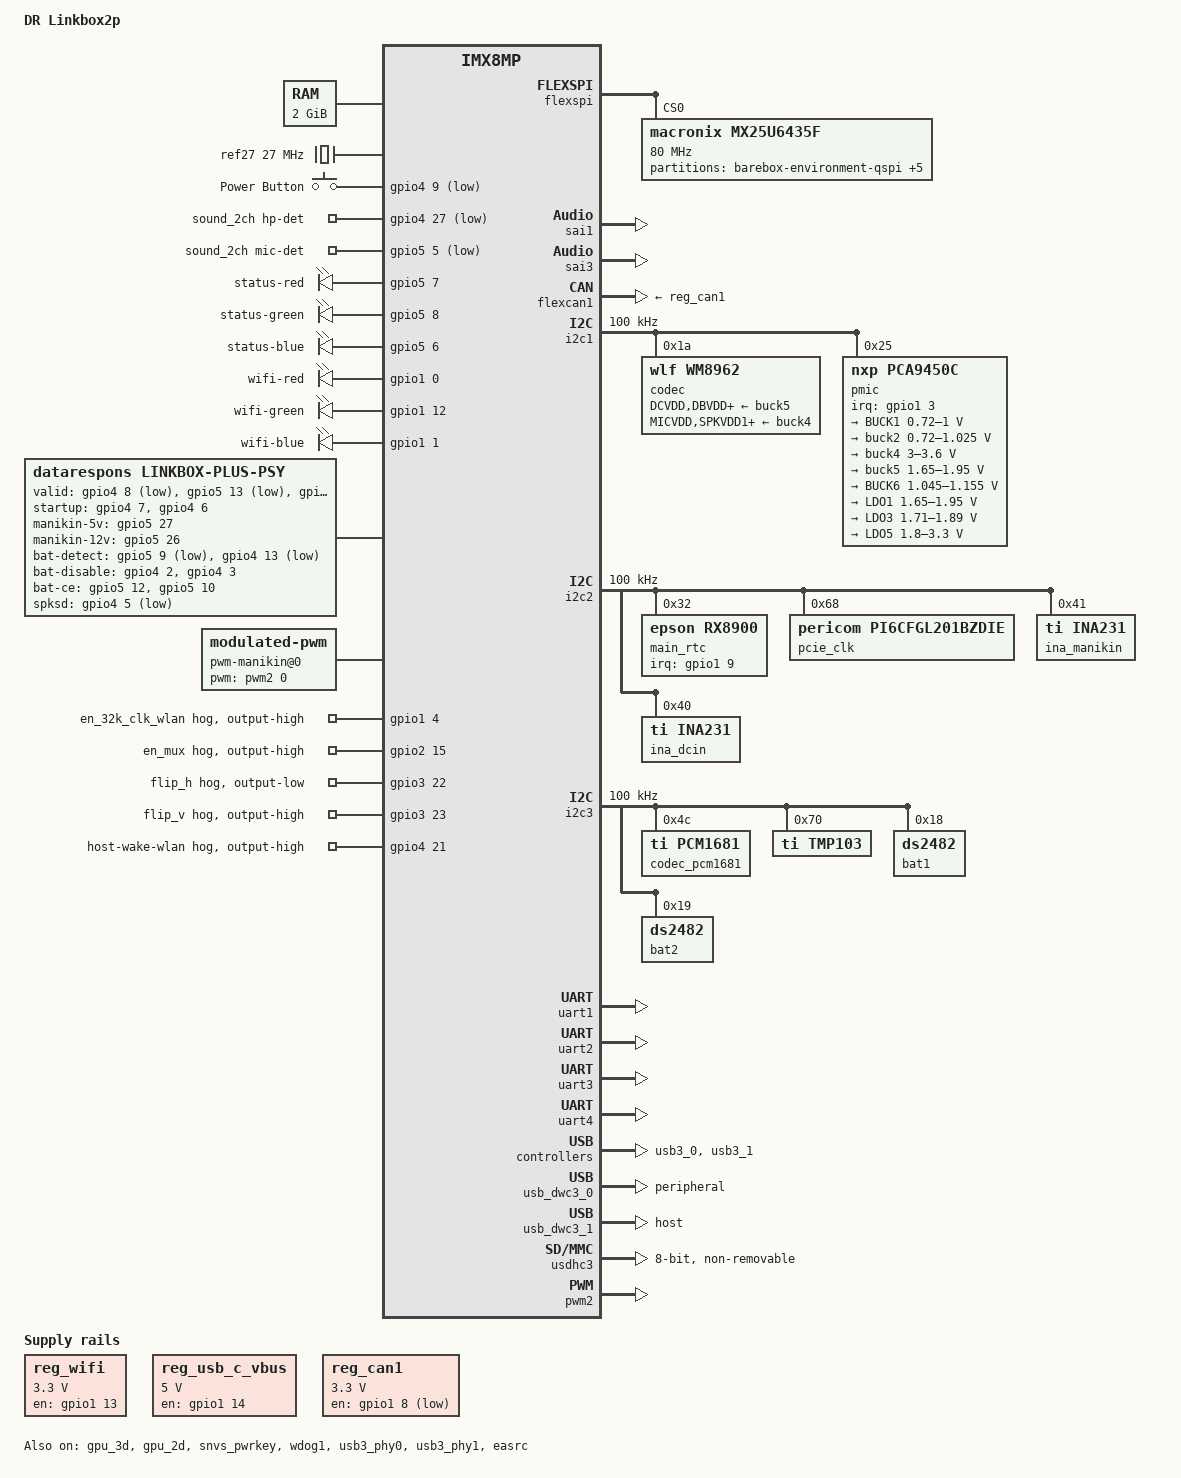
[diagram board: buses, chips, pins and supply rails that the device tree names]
/*
 * Copyright DATA RESPONS AS
 *
 * The code contained herein is licensed under the GNU General Public
 * License. You may obtain a copy of the GNU General Public License
 * Version 2 or later at the following locations:
 *
 * http://www.opensource.org/licenses/gpl-license.html
 * http://www.gnu.org/copyleft/gpl.html
 */
/dts-v1/;

#include <dt-bindings/input/input.h>
#include <dt-bindings/gpio/gpio.h>
#include <dt-bindings/usb/pd.h>
#include "imx8mp.dtsi"

/ {
	model = "DR Linkbox2p";
	compatible = "datarespons,linkbox2p", "fsl,imx8mp";

	aliases {
		mmc0 = &usdhc3;
		ethernet0 = &eqos;
		btserial = "ttymxc2";
		rtc0 = &main_rtc;
		rtc1 = &snvs_rtc;
	};

	chosen {
		stdout-path = &uart2;
	};

	memory@40000000 {
		device_type = "memory";
		reg = <0x0 0x40000000 0 0x80000000>; 	/* 2 GB DDR */
	};

	/delete-node/ display-subsystem;


	clocks {
		wlan_clk: clock@1 {
		#clock-cells = <0>;
            compatible = "fixed-clock";
            clock-output-names = "slp-clk";
            clock-frequency = <32768>;
            gpio = <&gpio1 4 0>; // EN_32KO-RTC
        };

		/*bt_clk: clock@1 {
		#clock-cells = <0>;
            compatible = "fixed-clock";
            clock-output-names = "lpo";
            clock-frequency = <32768>;
        };*/

		/* 27MHz reference crystal */
		ref27: oscillator {
			compatible = "fixed-clock";
			#clock-cells = <0>;
			clock-frequency = <27000000>;
		};
	};

	regulators {
		compatible = "simple-bus";

		reg_wifi: wifi_pwr {
			compatible = "regulator-fixed";
			regulator-name = "reg_wifi";
			regulator-min-microvolt = <3300000>;
			regulator-max-microvolt = <3300000>;
			gpio = <&gpio1 13 0>; /* PMIC_EN-WLAN */
			enable-active-high;
			regulator-always-on;
		};

		reg_usb_c_vbus: usb_c_vbus {
			compatible = "regulator-fixed";
			regulator-name = "reg_usb_c_vbus";
			regulator-min-microvolt = <5000000>;
			regulator-max-microvolt = <5000000>;
			gpio = <&gpio1 14 GPIO_ACTIVE_HIGH>; /* EN-USBC_Vbus_5V */
			enable-active-high;
/*			vin-supply = <&reg_5v>;*/
		};

		reg_can1: regulator-can1 {
			compatible = "regulator-fixed";
			regulator-name = "can1-power";
			pinctrl-names = "default";
			pinctrl-0 = <&pinctrl_flexcan1_reg>;
			regulator-min-microvolt = <3300000>;
			regulator-max-microvolt = <3300000>;
			gpio = <&gpio1 8 GPIO_ACTIVE_LOW>;
			enable-active-low;
		};
	};

	gpio-keys {
		compatible = "gpio-keys";
		power {
			label = "Power Button";
			gpios = <&gpio4 9 GPIO_ACTIVE_LOW>;
			linux,code = <KEY_POWER>; /* KEY_POWER */
			gpio-key,wakeup;
		};
	};

	bt_sco_codec: bt_sco_codec {
		#sound-dai-cells = <1>;
		compatible = "linux,bt-sco";
		status = "disabled";
	};

/*
	sound-bt-sco {
		compatible = "simple-audio-card";
		simple-audio-card,name = "bt-sco-audio";
		simple-audio-card,format = "dsp_a";
		simple-audio-card,bitclock-inversion;
		simple-audio-card,frame-master = <&btcpu>;
		simple-audio-card,bitclock-master = <&btcpu>;

		btcpu: simple-audio-card,cpu {
			sound-dai = <&sai2>;
			dai-tdm-slot-num = <2>;
			dai-tdm-slot-width = <16>;
		};

		simple-audio-card,codec {
			sound-dai = <&bt_sco_codec 1>;
		};
	};
*/
	sound_2ch {
		compatible = "fsl,lm-imx-audio-wm8962";
		model = "wm8962-audio";
		audio-cpu = <&sai3>;
		audio-codec = <&codec>;
		hp-det-gpios = <&gpio4 27 GPIO_ACTIVE_LOW>;
		mic-det-gpios = <&gpio5 5 GPIO_ACTIVE_LOW>;
		audio-routing =
			"Headphone Jack", "HPOUTL",
			"Headphone Jack", "HPOUTR",
			"Ext Spk", "SPKOUTL",
			"Ext Spk", "SPKOUTR",
			"AMIC", "MICBIAS",
			"IN1L", "AMIC",
			"IN1R", "AMIC",
			"IN2L", "AMIC",
			"IN2R", "AMIC";
	};

	leds {
		compatible = "gpio-leds";
		pinctrl-names = "default";
		pinctrl-0 = <&pinctrl_gpio_led>;

		status-red {
			gpios = <&gpio5 7 GPIO_ACTIVE_HIGH>;
			default-state = "off";
		};

		status-green {
			gpios = <&gpio5 8 GPIO_ACTIVE_HIGH>;
			default-state = "on";
			linux,default-trigger = "timer";
		};

		status-blue {
			gpios = <&gpio5 6 GPIO_ACTIVE_HIGH>;
			default-state = "off";
		};

		wifi-red {
			gpios = <&gpio1 0 GPIO_ACTIVE_HIGH>;
			default-state = "off";
		};

		wifi-green {
			gpios = <&gpio1 12 GPIO_ACTIVE_HIGH>;
			default-state = "off";
		};

		wifi-blue {
			gpios = <&gpio1 1 GPIO_ACTIVE_HIGH>;
			default-state = "off";
		};
	};

    sound_8ch {
        compatible = "fsl,imx-audio-mx8-pcm1681";
        model = "pcm1681";
        audio-cpu = <&sai1>;
        audio-codec = <&codec_pcm1681>;

        audio-routing =
            "OUT1", "VOUT1",
            "OUT2", "VOUT2",
            "OUT3", "VOUT3",
            "OUT4", "VOUT4",
            "OUT5", "VOUT5",
            "OUT6", "VOUT6",
            "OUT7", "VOUT7",
            "OUT8", "VOUT8";
    };

    linkbox-plus-psy {
		pinctrl-names = "default";
		pinctrl-0 = <&pinctrl_linkbox_psy>;
		status = "okay";
		compatible = "datarespons,linkbox-plus-psy";
		valid-gpios = <&gpio4 8 GPIO_ACTIVE_LOW &gpio5 13 GPIO_ACTIVE_LOW &gpio5 11 GPIO_ACTIVE_LOW>;
		startup-gpios = <&gpio4 7 GPIO_ACTIVE_HIGH &gpio4 6 GPIO_ACTIVE_HIGH>;
		manikin-5v-gpio = <&gpio5 27 GPIO_ACTIVE_HIGH>;
		manikin-12v-gpio = <&gpio5 26 GPIO_ACTIVE_HIGH>;
		bat-detect-gpios = <&gpio5 9 GPIO_ACTIVE_LOW &gpio4 13 GPIO_ACTIVE_LOW>;
		bat-disable-gpios = <&gpio4 2 GPIO_ACTIVE_HIGH &gpio4 3 GPIO_ACTIVE_HIGH>;
		bat-ce-gpios = <&gpio5 12 GPIO_ACTIVE_HIGH &gpio5 10 GPIO_ACTIVE_HIGH>;
		spksd-gpio = <&gpio4 5 GPIO_ACTIVE_LOW>;
		amp-shutdown-gpio = <&gpio1 6 GPIO_ACTIVE_LOW>;
		clr-status-gpio = <&gpio4 4 GPIO_ACTIVE_HIGH>;
		ina-dcin = <&ina_dcin>;
		ina-manikin = <&ina_manikin>;
    };

	pwm-manikin@0 {
		compatible = "modulated-pwm";
		pwms = <&pwm2 0 40000>;
		status = "okay";
		inverted;
		period = <40000>;
	};
};

&A53_0 {
	cpu-supply = <&buck2>;
};

&A53_1 {
	cpu-supply = <&buck2>;
};

&A53_2 {
	cpu-supply = <&buck2>;
};

&A53_3 {
	cpu-supply = <&buck2>;
};

&gpu_3d {
	status = "okay";
};

&gpu_2d {
	status = "okay";
};


&snvs_pwrkey {
	status = "okay";
};

&gpio1 {
	gpio-line-names = "", "", "", "", "", "", "", "ts-rst",
						"", "", "", "", "", "pmic-enable-wlan", "", "";

	en_32k_clk_wlan {
		gpio-hog;
		gpios = <4 GPIO_ACTIVE_HIGH>;
		output-high;
	};
};

&gpio2 {
	en_mux {
		gpio-hog;
		gpios = <15 GPIO_ACTIVE_HIGH>;
		output-high;
	};
};

&gpio3 {
	gpio-line-names = "", "", "", "", "", "", "", "",
						"spinor-wp", "", "", "", "", "", "", "";
	flip_h {
		gpio-hog;
		gpios = <22 GPIO_ACTIVE_HIGH>;
		output-low;
	};

	flip_v {
		gpio-hog;
		gpios = <23 GPIO_ACTIVE_HIGH>;
		output-high;
	};
};

&gpio4 {
	gpio-line-names = "", "", "", "", "", "", "", "",
						"", "", "", "", "", "", "mcu_reset", "mcu_boot0",
						"mcu_boot1", "hwrev0", "hwrev1", "hwrev2", "sai1-mclk", "host-wake-wlan", "wlan-wake-host", "",
						"", "", "", "", "", "", "", "";

	host-wake-wlan {
		gpio-hog;
		gpios = <21 GPIO_ACTIVE_HIGH>;
		output-high;
	};
};

&gpio5 {
	gpio-line-names = "", "", "", "bt-wake-host", "host-wake-bt", "", "", "",
						"", "", "", "", "", "", "", "",
						"", "", "", "", "pcie-clkreqn", "", "", "";
};


&eqos {
	pinctrl-names = "default";
	pinctrl-0 = <&pinctrl_eqos>;
	phy-mode = "rgmii-id";
	phy-handle = <&ethphy0>;
	reset-gpios = <&gpio4 1 GPIO_ACTIVE_LOW>; /* ETHPHY_nRST */
	snps,force_thresh_dma_mode;
	snps,mtl-tx-config = <&mtl_tx_setup>;
	snps,mtl-rx-config = <&mtl_rx_setup>;
	status = "disabled";

	mdio {
		compatible = "snps,dwmac-mdio";
		#address-cells = <1>;
		#size-cells = <0>;

		ethphy0: ethernet-phy@0 {
			compatible = "ethernet-phy-ieee802.3-c22";
			reg = <0>;
			eee-broken-1000t;
			rtl821x,aldps-disable;
			rtl821x,clkout-disable;
		};
	};

	mtl_tx_setup: tx-queues-config {
		snps,tx-queues-to-use = <5>;
		snps,tx-sched-sp;

		queue0 {
			snps,dcb-algorithm;
			snps,priority = <0x1>;
		};

		queue1 {
			snps,dcb-algorithm;
			snps,priority = <0x2>;
		};

		queue2 {
			snps,dcb-algorithm;
			snps,priority = <0x4>;
		};

		queue3 {
			snps,dcb-algorithm;
			snps,priority = <0x8>;
		};

		queue4 {
			snps,dcb-algorithm;
			snps,priority = <0xf0>;
		};
	};

	mtl_rx_setup: rx-queues-config {
		snps,rx-queues-to-use = <5>;
		snps,rx-sched-sp;

		queue0 {
			snps,dcb-algorithm;
			snps,priority = <0x1>;
			snps,map-to-dma-channel = <0>;
		};

		queue1 {
			snps,dcb-algorithm;
			snps,priority = <0x2>;
			snps,map-to-dma-channel = <1>;
		};

		queue2 {
			snps,dcb-algorithm;
			snps,priority = <0x4>;
			snps,map-to-dma-channel = <2>;
		};

		queue3 {
			snps,dcb-algorithm;
			snps,priority = <0x8>;
			snps,map-to-dma-channel = <3>;
		};

		queue4 {
			snps,dcb-algorithm;
			snps,priority = <0xf0>;
			snps,map-to-dma-channel = <4>;
		};
	};
};


&flexspi {
	pinctrl-names = "default";
	pinctrl-0 = <&pinctrl_flexspi0>;
	status = "okay";

	mx25u6435f: flash@0 { /* MX25U6432FM2I02 (64 Mbit) */
		reg = <0>;
		#address-cells = <1>;
		#size-cells = <1>;
		compatible = "macronix,mx25u6435f", "jedec,spi-nor";
		spi-max-frequency = <80000000>;
		spi-tx-bus-width = <1>;
		spi-rx-bus-width = <4>;
		spi-nor,ddr-quad-read-dummy = <6>;

	};
};

&mx25u6435f {
	partitions {
		compatible = "fixed-partitions";
		#address-cells = <1>;
		#size-cells = <1>;

		partition@0 {
			label = "barebox-environment-qspi";
			reg = <0x0 0x40000>;
		};

		backend_state_qspi: state@40000 {
			label = "barebox-state";
			reg = <0x40000 0xc0000>;
		};

		partition@100000 {
			label = "system_a";
			reg = <0x100000 0x40000>;
		};
		partition@140000 {
			label = "system_b";
			reg = <0x140000 0x40000>;
		};

		partition@180000 {
			label = "user_a";
			reg = <0x180000 0x40000>;
		};
		partition@1c0000 {
			label = "user_b";
			reg = <0x1c0000 0x40000>;
		};
	};
};

&sai1 {
	#clock-cells = <0>;
	clock-output-names = "sai1_mclk_out";
	pinctrl-names = "default";
	pinctrl-0 = <&pinctrl_sai1>;
	assigned-clocks = <&clk IMX8MP_CLK_SAI1>;
	assigned-clock-parents = <&clk IMX8MP_AUDIO_PLL1_OUT>;
	assigned-clock-rates = <24576000>;
	clocks = <&audio_blk_ctrl IMX8MP_CLK_AUDIO_BLK_CTRL_SAI1_IPG>, <&clk IMX8MP_CLK_DUMMY>,
		<&audio_blk_ctrl IMX8MP_CLK_AUDIO_BLK_CTRL_SAI1_MCLK1>, <&clk IMX8MP_CLK_DUMMY>,
		<&clk IMX8MP_CLK_DUMMY>;
	clock-names = "bus", "mclk0", "mclk1", "mclk2", "mclk3";
	fsl,sai-mclk-direction-output;
	status = "okay";
};

&sai2 {
	#sound-dai-cells = <0>;
	pinctrl-names = "default";
	pinctrl-0 = <&pinctrl_sai2>;
	assigned-clocks = <&clk IMX8MP_CLK_SAI2>;
	assigned-clock-parents = <&clk IMX8MP_AUDIO_PLL1_OUT>;
	assigned-clock-rates = <12288000>;
	status = "disabled";
};

&sai3 {
	#clock-cells = <0>;
	clock-output-names = "sai3_mclk_out";
	pinctrl-names = "default";
	pinctrl-0 = <&pinctrl_sai3>;
	assigned-clocks = <&clk IMX8MP_CLK_SAI3>;
	assigned-clock-parents = <&clk IMX8MP_AUDIO_PLL1_OUT>;
	assigned-clock-rates = <24576000>;
	clocks = <&audio_blk_ctrl IMX8MP_CLK_AUDIO_BLK_CTRL_SAI3_IPG>, <&clk IMX8MP_CLK_DUMMY>,
		<&audio_blk_ctrl IMX8MP_CLK_AUDIO_BLK_CTRL_SAI3_MCLK1>, <&clk IMX8MP_CLK_DUMMY>,
		<&clk IMX8MP_CLK_DUMMY>;
	clock-names = "bus", "mclk0", "mclk1", "mclk2", "mclk3";
	fsl,sai-mclk-direction-output;
	status = "okay";
};

&sdma2 {
	status = "okay";
};

&flexcan1 {
	pinctrl-names = "default";
	pinctrl-0 = <&pinctrl_flexcan1>;
	xceiver-supply = <&reg_can1>;
	status = "okay";
	termination-gpios = <&gpio1 7 GPIO_ACTIVE_HIGH>;
    termination-ohms = <60>;
};

&i2c1 { /* PMIC PCA9450CHNY, Audio codec WM8962B */
	clock-frequency = <100000>;
	pinctrl-names = "default";
	pinctrl-0 = <&pinctrl_i2c1>;
	status = "okay";

	codec: wm8962@1a {
		compatible = "wlf,wm8962";
		reg = <0x1a>;
		DCVDD-supply = <&buck5>;
		DBVDD-supply = <&buck5>;
		AVDD-supply = <&buck5>;
		CPVDD-supply = <&buck5>;
		MICVDD-supply = <&buck4>;
		PLLVDD-supply = <&buck5>;
		SPKVDD1-supply = <&buck4>;
		SPKVDD2-supply = <&buck4>;
		clocks = <&sai3>;
		clock-names = "mclk";
/*		interrupts = <28 IRQ_TYPE_LEVEL_LOW>;
		interrupt-parent = <&gpio4>; */
		gpio-cfg = <
			0x0000 /* 0:Default */
			0x0000 /* 1:Default */
			0x0000 /* 2:FN_DMICCLK */
			0x0000 /* 3:Default */
			0x0000 /* 4:FN_DMICCDAT */
			0x4703 /* 5:IRQ, low PU */
		>;
	};

	pmic: pca9450@25 {
		compatible = "nxp,pca9450c";
		reg = <0x25>;
		pinctrl-names = "default";
		pinctrl-0 = <&pinctrl_pmic>;
		interrupt-parent = <&gpio1>;
		interrupts = <3 IRQ_TYPE_LEVEL_LOW>;

		regulators {
			BUCK1 {
				regulator-name = "BUCK1";
				regulator-min-microvolt = <720000>;
				regulator-max-microvolt = <1000000>;
				regulator-boot-on;
				regulator-always-on;
				regulator-ramp-delay = <3125>;
			};

			buck2: BUCK2 {
				regulator-name = "BUCK2";
				regulator-min-microvolt = <720000>;
				regulator-max-microvolt = <1025000>;
				regulator-boot-on;
				regulator-always-on;
				regulator-ramp-delay = <3125>;
				nxp,dvs-run-voltage = <950000>;
				nxp,dvs-standby-voltage = <850000>;
			};

			buck4: BUCK4 {
				regulator-name = "BUCK4";
				regulator-min-microvolt = <3000000>;
				regulator-max-microvolt = <3600000>;
				regulator-boot-on;
				regulator-always-on;
			};

			buck5: BUCK5 {
				regulator-name = "BUCK5";
				regulator-min-microvolt = <1650000>;
				regulator-max-microvolt = <1950000>;
				regulator-boot-on;
				regulator-always-on;
			};

			BUCK6 {
				regulator-name = "BUCK6";
				regulator-min-microvolt = <1045000>;
				regulator-max-microvolt = <1155000>;
				regulator-boot-on;
				regulator-always-on;
			};

			LDO1 {
				regulator-name = "LDO1";
				regulator-min-microvolt = <1650000>;
				regulator-max-microvolt = <1950000>;
				regulator-boot-on;
				regulator-always-on;
			};

			LDO3 {
				regulator-name = "LDO3";
				regulator-min-microvolt = <1710000>;
				regulator-max-microvolt = <1890000>;
				regulator-boot-on;
				regulator-always-on;
			};

			LDO5 {
				regulator-name = "LDO5";
				regulator-min-microvolt = <1800000>;
				regulator-max-microvolt = <3300000>;
				regulator-boot-on;
				regulator-always-on;
			};
		};
	};
};

&i2c2 { /* RTC X1B000271A00400/rx8900, PCIE_CLK PI6CFGL201BZDIE, MBATT BQ27541-G1 BQ28Z610 */
	clock-frequency = <100000>;
	pinctrl-names = "default";
	pinctrl-0 = <&pinctrl_i2c2>;
	status = "okay";

	main_rtc: rtc-rx8900@32 {
		compatible = "epson,rx8900";
		reg = <0x32>;
		interrupt-parent = <&gpio1>;
		interrupts = <9 IRQ_TYPE_LEVEL_LOW>;
	};

	pcie_clk: pi6cfgl201bzdie@68 {
		compatible = "pericom,pi6cfgl201bzdie";
		reg = <0x68>;
	};

	ina_manikin: ina231@41 {
		compatible = "ti,ina231";
		reg = <0x41>;
		shunt-resistor = <10000>;
	};

	ina_dcin: ina231@40 {
		compatible = "ti,ina231";
		reg = <0x40>;
		shunt-resistor = <10000>;
	};
};

&i2c3 { /* CTP EXC80H32 , CTP EXC80H32	see exc3000.c */
	clock-frequency = <100000>;
	pinctrl-names = "default";
	pinctrl-0 = <&pinctrl_i2c3>;
	status = "okay";

	codec_pcm1681: pcm1681@4c {
		compatible = "ti,pcm1681";
		reg = <0x4c>;
		clocks = <&sai1>;
		clock-names = "mclk";
	};

	si5351: clock-generator@60 {
		compatible = "silabs,si5351a";
		reg = <0x60>;
		#address-cells = <1>;
		#size-cells = <0>;
		#clock-cells = <1>;
		status = "disabled";

		/* connect xtal input to 27MHz reference */
		clocks = <&ref27>;
		clock-names = "xtal";
		/* connect xtal input as source of pll0 and pll1 */
		silabs,pll-source = <0 0>, <1 0>;

		clkout0 {
			reg = <0>;
			silabs,drive-strength = <8>;
			silabs,multisynth-source = <0>;
			silabs,clock-source = <0>;
			silabs,pll-master;
			clock-frequency = <24576000>;
		};
	};

	/*thermal_sensor: TMP103AYFFR*/
	tmp103: tmp103@70 {
		compatible = "ti,tmp103";
		reg = <0x70>;
	};

	/* DS2482X-101+T */
	/* defconfig W1_MASTER_DS2482*/
	bat1: ds2482@18 {
		compatible = "ds2482";
		reg = <0x18>;
	};

	/* DS2482X-101+T */
	/* defconfig W1_MASTER_DS2482*/
	bat2: ds2482@19 {
		compatible = "ds2482";
		reg = <0x19>;
	};

};

&wdog1 {
	pinctrl-names = "default";
	pinctrl-0 = <&pinctrl_wdog>;
	fsl,ext-reset-output;
	status = "okay";
};

/* PAD defs for IMX8MP
BIT8: PULL Enable=1
BIT7: HYS Shmitt=1
BIT6: PUE Down=0, Up=1
BIT5: ODE
BIT4: SLEW Fast=1
BIT2:1 STRENGTH x1,x2,x4,x6
*/

&iomuxc {
	pinctrl-names = "default";
	pinctrl-0 = <&pinctrl_hog>;

	pinctrl_hog: hoggrp {
		fsl,pins = <
			MX8MP_IOMUXC_GPIO1_IO04__GPIO1_IO04			0x142		/* EN_32KO-RTC (WLAN SLP_CLK-WLAN)*/
			MX8MP_IOMUXC_GPIO1_IO09__GPIO1_IO09			0x1c0		/* RTC nIRQ */
			MX8MP_IOMUXC_GPIO1_IO10__GPIO1_IO10			0x000		/* PWM? */
			MX8MP_IOMUXC_GPIO1_IO13__GPIO1_IO13			0x002		/* GP--WL_BAT_PWR_EN PMIC_EN-WLAN */

			MX8MP_IOMUXC_SAI1_RXD7__GPIO4_IO09			0x180		/* PWR_BTN_SNS PWR_BTN_SNS-CPUGPI*/
			MX8MP_IOMUXC_SAI1_TXD5__GPIO4_IO17			0x00		/* HW_Setting_0 */
			MX8MP_IOMUXC_SAI1_TXD6__GPIO4_IO18			0x00		/* HW_Setting_1 */
			MX8MP_IOMUXC_SAI1_TXD7__GPIO4_IO19			0x00		/* HW_Setting_2 */
			MX8MP_IOMUXC_SAI2_MCLK__GPIO4_IO27			0x1c0		/* LINE_OUTD_DET */
			MX8MP_IOMUXC_SAI5_RXD3__GPIO3_IO24			0x006		/* EN_PWR-ENET_A */

			MX8MP_IOMUXC_SPDIF_EXT_CLK__GPIO5_IO05		0x1c0		/* LINE_IND_DET */
			MX8MP_IOMUXC_SPDIF_RX__GPIO5_IO04			0x142		/* HOST_WAKEUP_BT, PU */
			MX8MP_IOMUXC_SPDIF_TX__GPIO5_IO03			0x180		/* BT_WAKEUP_HOST, PD */

			MX8MP_IOMUXC_GPIO1_IO14__GPIO1_IO14			0x006 		/* EN-USBC_Vbus_5V */

			MX8MP_IOMUXC_SAI1_TXD2__GPIO4_IO14			0x004  		/* GP-CPU2MCU_RST */
            MX8MP_IOMUXC_SAI1_TXD3__GPIO4_IO15			0x004  		/* MCU_BOOT0 */
            MX8MP_IOMUXC_SAI1_TXD4__GPIO4_IO16			0x004  		/* MCU_BOOT1 */
		>;
	};

	pinctrl_pmic: pmicgrp {
		fsl,pins = <
			MX8MP_IOMUXC_GPIO1_IO03__GPIO1_IO03		0x1c0	/* PMIC_nINT */
		>;
	};

	pinctrl_wifi1: wifi1grp {
		fsl,pins = <
			MX8MP_IOMUXC_SAI2_RXFS__GPIO4_IO21		0x142	/* HOST_WAKEUP_WLAN */
			MX8MP_IOMUXC_SAI2_RXC__GPIO4_IO22		0x1C0	/* WLAN_WAKEUP_HOST */
		>;
	};

	pinctrl_wdog: wdoggrp {
		fsl,pins = <
			MX8MP_IOMUXC_GPIO1_IO02__WDOG1_WDOG_B		  0xc6		 /* WDOG_B */
		>;
	};

	pinctrl_flexspi0: flexspi0grp {
		fsl,pins = <
			MX8MP_IOMUXC_NAND_ALE__FLEXSPI_A_SCLK		0x1c2
			MX8MP_IOMUXC_NAND_CE0_B__FLEXSPI_A_SS0_B	0x82
			MX8MP_IOMUXC_NAND_DATA00__FLEXSPI_A_DATA00	0x82
			MX8MP_IOMUXC_NAND_DATA01__FLEXSPI_A_DATA01	0x82
			MX8MP_IOMUXC_NAND_DATA02__FLEXSPI_A_DATA02	0x82
			MX8MP_IOMUXC_NAND_DATA03__FLEXSPI_A_DATA03	0x82
		>;
	};

	/* Linkbox Power Supply */
	pinctrl_linkbox_psy: psygrp {
		fsl,pins = <
			MX8MP_IOMUXC_UART3_RXD__GPIO5_IO26		0x006		/* EN-12V-MANIKIN */
			MX8MP_IOMUXC_UART3_TXD__GPIO5_IO27		0x006		/* EN-5V-MANIKIN */
			MX8MP_IOMUXC_GPIO1_IO06__GPIO1_IO06 	0x006		/* nSD-AC5W */
			MX8MP_IOMUXC_SAI1_RXD3__GPIO4_IO05		0x006		/* nSD-1WSP */
			MX8MP_IOMUXC_ECSPI1_SS0__GPIO5_IO09		0x1c0		/* GP--BAT1_nDET */
			MX8MP_IOMUXC_SAI1_TXD1__GPIO4_IO13  	0x1c0		/* BAT2_DET_N */
            MX8MP_IOMUXC_ECSPI2_SS0__GPIO5_IO13		0x1c0		/* nVALID_2 */
            MX8MP_IOMUXC_ECSPI2_MOSI__GPIO5_IO11	0x1c0		/* nVALID_3 */
            MX8MP_IOMUXC_SAI1_RXD5__GPIO4_IO07		0x000		/* START_ADAPTER-CPUGPI */
            MX8MP_IOMUXC_SAI1_RXD4__GPIO4_IO06		0x000		/* START_KEY-CPUGPI */

			MX8MP_IOMUXC_SAI1_RXD0__GPIO4_IO02		0x004		/* UV2-CPU */
			MX8MP_IOMUXC_SAI1_RXD1__GPIO4_IO03		0x004		/* UV3-CPU */
			MX8MP_IOMUXC_ECSPI2_MISO__GPIO5_IO12	0x004		/* EN_BAT1-CPU */
			MX8MP_IOMUXC_ECSPI2_SCLK__GPIO5_IO10	0x004		/* EN_BAT2-CPU */
			MX8MP_IOMUXC_SAI1_RXD2__GPIO4_IO04		0x002		/* CLR_STATUS , CLR_STATUS-CPUGPO*/
			MX8MP_IOMUXC_SAI1_RXD6__GPIO4_IO08		0x000		/* DCIN_VALIDO from CPLD */
		>;
	};

	/* UART CPR */
	pinctrl_uart1: uart1grp {
		fsl,pins = <
			MX8MP_IOMUXC_UART1_RXD__UART1_DCE_RX	0x102
			MX8MP_IOMUXC_UART1_TXD__UART1_DCE_TX	0x104
		>;
	};

	/* UART CPU */
	pinctrl_uart2: uart2grp {
		fsl,pins = <
			MX8MP_IOMUXC_UART2_RXD__UART2_DCE_RX	0x102
			MX8MP_IOMUXC_UART2_TXD__UART2_DCE_TX	0x102
		>;
	};

	/* UART BT */
	pinctrl_uart3: uart3grp {
		fsl,pins = <
			MX8MP_IOMUXC_SD1_DATA6__UART3_DCE_TX		0x112
			MX8MP_IOMUXC_SD1_DATA7__UART3_DCE_RX		0x112
			MX8MP_IOMUXC_SD1_RESET_B__UART3_DCE_RTS		0x112
			MX8MP_IOMUXC_SD1_STROBE__UART3_DCE_CTS		0x112
		>;
	};

	/* UART IOMCU */
	pinctrl_uart4: uart4grp {
		fsl,pins = <
			MX8MP_IOMUXC_UART4_RXD__UART4_DCE_RX	0x102 /* UART_TX-IOMCU */
			MX8MP_IOMUXC_UART4_TXD__UART4_DCE_TX	0x102 /* UART_RX-IOMCU */
		>;
	};

	pinctrl_i2c1: i2c1grp {
		fsl,pins = <
			MX8MP_IOMUXC_I2C1_SCL__I2C1_SCL		 0x400001c2
			MX8MP_IOMUXC_I2C1_SDA__I2C1_SDA		 0x400001c2
		>;
	};

	pinctrl_i2c2: i2c2grp {
		fsl,pins = <
			MX8MP_IOMUXC_I2C2_SCL__I2C2_SCL		 0x400001c2
			MX8MP_IOMUXC_I2C2_SDA__I2C2_SDA		 0x400001c2
		>;
	};

	pinctrl_i2c3: i2c3grp {
		fsl,pins = <
			MX8MP_IOMUXC_I2C3_SCL__I2C3_SCL		0x400001c2
			MX8MP_IOMUXC_I2C3_SDA__I2C3_SDA		0x400001c2
		>;
	};

	pinctrl_usdhc3: usdhc3grp { /* EMMC eMMC16G-TB28-A20 */
		fsl,pins = <
			MX8MP_IOMUXC_NAND_WE_B__USDHC3_CLK		0x192 /*SD3_CLK*/
			MX8MP_IOMUXC_NAND_WP_B__USDHC3_CMD		0x1d2 /*SD3_CMD*/
			MX8MP_IOMUXC_NAND_DATA04__USDHC3_DATA0	0x1d2 /*SD3_DATA0*/
			MX8MP_IOMUXC_NAND_DATA05__USDHC3_DATA1	0x1d2 /*SD3_DATA1*/
			MX8MP_IOMUXC_NAND_DATA06__USDHC3_DATA2	0x1d2 /*SD3_DATA2*/
			MX8MP_IOMUXC_NAND_DATA07__USDHC3_DATA3	0x1d2 /*SD3_DATA3*/
			MX8MP_IOMUXC_NAND_RE_B__USDHC3_DATA4	0x1d2 /*SD3_DATA4*/
			MX8MP_IOMUXC_NAND_CE2_B__USDHC3_DATA5	0x1d2 /*SD3_DATA5*/
			MX8MP_IOMUXC_NAND_CE3_B__USDHC3_DATA6	0x1d2 /*SD3_DATA6*/
			MX8MP_IOMUXC_NAND_CLE__USDHC3_DATA7		0x1d2 /*SD3_DATA7*/
			MX8MP_IOMUXC_NAND_CE1_B__USDHC3_STROBE	0x192 /* SD3_STROBE*/
		>;
	};

	pinctrl_usdhc3_100mhz: usdhc3-100mhzgrp {
		fsl,pins = <
			MX8MP_IOMUXC_NAND_WE_B__USDHC3_CLK		0x194 /*SD3_CLK*/
			MX8MP_IOMUXC_NAND_WP_B__USDHC3_CMD		0x1d4 /*SD3_CMD*/
			MX8MP_IOMUXC_NAND_DATA04__USDHC3_DATA0	0x1d4 /*SD3_DATA0*/
			MX8MP_IOMUXC_NAND_DATA05__USDHC3_DATA1	0x1d4 /*SD3_DATA1*/
			MX8MP_IOMUXC_NAND_DATA06__USDHC3_DATA2	0x1d4 /*SD3_DATA2*/
			MX8MP_IOMUXC_NAND_DATA07__USDHC3_DATA3	0x1d4 /*SD3_DATA3*/
			MX8MP_IOMUXC_NAND_RE_B__USDHC3_DATA4	0x1d4 /*SD3_DATA4*/
			MX8MP_IOMUXC_NAND_CE2_B__USDHC3_DATA5	0x1d4 /*SD3_DATA5*/
			MX8MP_IOMUXC_NAND_CE3_B__USDHC3_DATA6	0x1d4 /*SD3_DATA6*/
			MX8MP_IOMUXC_NAND_CLE__USDHC3_DATA7		0x1d4 /*SD3_DATA7*/
			MX8MP_IOMUXC_NAND_CE1_B__USDHC3_STROBE	0x194 /* SD3_STROBE*/
		>;
	};

	pinctrl_usdhc3_200mhz: usdhc3-200mhzgrp {
		fsl,pins = <
			MX8MP_IOMUXC_NAND_WE_B__USDHC3_CLK		0x196 /*SD3_CLK*/
			MX8MP_IOMUXC_NAND_WP_B__USDHC3_CMD		0x1d6 /*SD3_CMD*/
			MX8MP_IOMUXC_NAND_DATA04__USDHC3_DATA0	0x1d6 /*SD3_DATA0*/
			MX8MP_IOMUXC_NAND_DATA05__USDHC3_DATA1	0x1d6 /*SD3_DATA1*/
			MX8MP_IOMUXC_NAND_DATA06__USDHC3_DATA2	0x1d6 /*SD3_DATA2*/
			MX8MP_IOMUXC_NAND_DATA07__USDHC3_DATA3	0x1d6 /*SD3_DATA3*/
			MX8MP_IOMUXC_NAND_RE_B__USDHC3_DATA4	0x1d6 /*SD3_DATA4*/
			MX8MP_IOMUXC_NAND_CE2_B__USDHC3_DATA5	0x1d6 /*SD3_DATA5*/
			MX8MP_IOMUXC_NAND_CE3_B__USDHC3_DATA6	0x1d6 /*SD3_DATA6*/
			MX8MP_IOMUXC_NAND_CLE__USDHC3_DATA7		0x1d6 /*SD3_DATA7*/
			MX8MP_IOMUXC_NAND_CE1_B__USDHC3_STROBE	0x196 /* SD3_STROBE*/
		>;
	};

	pinctrl_sai1: sai1grp {
		fsl,pins = <
			MX8MP_IOMUXC_SAI1_MCLK__AUDIOMIX_SAI1_MCLK			0xd6 /*SAI1_MCLK - PCM_SCLK-PCMDAC */
			MX8MP_IOMUXC_SAI1_TXFS__AUDIOMIX_SAI1_TX_SYNC		0xd6 /*SAI1_TXFS - PCM_LRCK-PCMDAC */
			MX8MP_IOMUXC_SAI1_TXC__AUDIOMIX_SAI1_TX_BCLK		0xd6 /*SAI1_TXC - PCM_BCLK-PCMDAC*/
			MX8MP_IOMUXC_SAI1_TXD0__AUDIOMIX_SAI1_TX_DATA00		0xd6 /*SAI1_TXD0 - PCM_DAT1-PCMDAC*/
		>;
	};

	pinctrl_sai2: sai2grp {
		fsl,pins = <
			MX8MP_IOMUXC_SAI2_RXD0__AUDIOMIX_SAI2_RX_DATA00		0xd6 /*SAI2_RXD0 - BT_PCM_DIN*/
			MX8MP_IOMUXC_SAI2_TXC__AUDIOMIX_SAI2_TX_BCLK		0xd6 /*SAI2_TXC - BT_PCM_CLK*/
			MX8MP_IOMUXC_SAI2_TXD0__AUDIOMIX_SAI2_TX_DATA00		0xd6 /*SAI2_TXD0 - BT_PCM_SDOUT*/
			MX8MP_IOMUXC_SAI2_TXFS__AUDIOMIX_SAI2_TX_SYNC		0xd6 /*SAI2_TXFS - BT_PCM_SYNC*/
		>;
	};

	pinctrl_sai3: sai3grp {
		fsl,pins = <
			MX8MP_IOMUXC_SAI3_RXD__AUDIOMIX_SAI3_RX_DATA00		0xd6 /*-Audio_a - SAI3_RXD*/
			MX8MP_IOMUXC_SAI3_TXC__AUDIOMIX_SAI3_TX_BCLK		0xd6 /*I2S_BCLK-Audio_a - SAI3_TXC*/
			MX8MP_IOMUXC_SAI3_TXD__AUDIOMIX_SAI3_TX_DATA00		0xd6 /*I2S_DACDAT-Audio_a - SAI3_TXD*/
			MX8MP_IOMUXC_SAI3_TXFS__AUDIOMIX_SAI3_TX_SYNC		0xd6 /*I2S_LRCLK-Audio_a - SAI3_TXFS*/
			MX8MP_IOMUXC_SAI3_MCLK__AUDIOMIX_SAI3_MCLK			0xd6 /*I2S_MCLKF-Audio_a - SAI3_MCLK*/
			MX8MP_IOMUXC_SAI3_RXFS__AUDIOMIX_SAI3_RX_SYNC		0xd6 /*SAI3_RXFS*/
		>;
	};

	pinctrl_eqos: eqosgrp {
		fsl,pins = <
			MX8MP_IOMUXC_ENET_MDC__ENET_QOS_MDC				0x3
			MX8MP_IOMUXC_ENET_MDIO__ENET_QOS_MDIO			0x3
			MX8MP_IOMUXC_ENET_TD3__ENET_QOS_RGMII_TD3		0x1f
			MX8MP_IOMUXC_ENET_TD2__ENET_QOS_RGMII_TD2		0x1f
			MX8MP_IOMUXC_ENET_TD1__ENET_QOS_RGMII_TD1		0x1f
			MX8MP_IOMUXC_ENET_TD0__ENET_QOS_RGMII_TD0		0x1f
			MX8MP_IOMUXC_ENET_TX_CTL__ENET_QOS_RGMII_TX_CTL 0x1f
			MX8MP_IOMUXC_ENET_TXC__CCM_ENET_QOS_CLOCK_GENERATE_TX_CLK	0x1f
			MX8MP_IOMUXC_ENET_RX_CTL__ENET_QOS_RGMII_RX_CTL 0x91
			MX8MP_IOMUXC_ENET_RXC__CCM_ENET_QOS_CLOCK_GENERATE_RX_CLK			0x91
			MX8MP_IOMUXC_ENET_RD0__ENET_QOS_RGMII_RD0		0x91
			MX8MP_IOMUXC_ENET_RD1__ENET_QOS_RGMII_RD1		0x91
			MX8MP_IOMUXC_ENET_RD2__ENET_QOS_RGMII_RD2		0x91
			MX8MP_IOMUXC_ENET_RD3__ENET_QOS_RGMII_RD3		0x91
			MX8MP_IOMUXC_SAI1_RXC__GPIO4_IO01				0x19 /* Phy reset (low) RGMII--CPU_nRST->ETH_nRST  ETHPHY_nRST */
			MX8MP_IOMUXC_SAI1_RXFS__GPIO4_IO00				0x19 /* Phy IRQ GP--ETH_INT->ETH_INT nINT_ENET_A->ETH_INT */

		>;
	};

	pinctrl_pcie0: pcie0grp {
		fsl,pins = <
			MX8MP_IOMUXC_SD1_DATA5__GPIO2_IO07			0x1c4	   	/* PCIE_PERST */
			MX8MP_IOMUXC_SD1_DATA4__GPIO2_IO06			0x1c4	   	/* W_DISABLE */
			MX8MP_IOMUXC_I2C4_SDA__GPIO5_IO21			0x1c0 		/* PCIE_WAKE_N */
			MX8MP_IOMUXC_I2C4_SCL__GPIO5_IO20			0x1c0 		/* PCIE_CLKREQ_N */
		>;
	};

	pinctrl_gpio_led: gpioledgrp {
		fsl,pins = <
			MX8MP_IOMUXC_ECSPI1_MOSI__GPIO5_IO07	0x002 /* LED_R_Status--CPU */
			MX8MP_IOMUXC_ECSPI1_MISO__GPIO5_IO08	0x002 /* LED_G_Status--CPU */
			MX8MP_IOMUXC_ECSPI1_SCLK__GPIO5_IO06	0x002 /* LED_B_Status--CPU */
			MX8MP_IOMUXC_GPIO1_IO00__GPIO1_IO00		0x142 /* WIFI_LED_CTL_R */
			MX8MP_IOMUXC_GPIO1_IO12__GPIO1_IO12		0x142 /* WIFI_LED_CTL_G */
			MX8MP_IOMUXC_GPIO1_IO01__GPIO1_IO01		0x142 /* WIFI_LED_CTL_B */

		>;
	};

	pinctrl_flexcan1: flexcan1grp {
		fsl,pins = <
			MX8MP_IOMUXC_SAI5_RXD2__CAN1_RX			0x140
			MX8MP_IOMUXC_SAI5_RXD1__CAN1_TX			0x154
			MX8MP_IOMUXC_GPIO1_IO07__GPIO1_IO07		0x104	/* EN-CAN1_TERMINAL */
			MX8MP_IOMUXC_GPIO1_IO15__GPIO1_IO15		0x004	/* CAN1_STBY */
		>;
	};

	pinctrl_flexcan1_reg: flexcan1reggrp {
		fsl,pins = <
			MX8MP_IOMUXC_GPIO1_IO08__GPIO1_IO08		0x004	/* SHDN-CAN1 */
		>;
	};

	/* PWM_ECG */
	pinctrl_pwm_ecg: ecggrp {
		fsl,pins = <
			MX8MP_IOMUXC_GPIO1_IO11__PWM2_OUT			0x006
		>;
	};
};

&uart1 {
	pinctrl-names = "default";
	pinctrl-0 = <&pinctrl_uart1>;
	status = "okay";
};

&uart2 {
	pinctrl-names = "default";
	pinctrl-0 = <&pinctrl_uart2>;
	status = "okay";
};

&uart3 {
	pinctrl-names = "default";
	pinctrl-0 = <&pinctrl_uart3>;
	assigned-clocks = <&clk IMX8MP_CLK_UART3>;
	assigned-clock-parents = <&clk IMX8MP_SYS_PLL1_80M>;
	fsl,uart-has-rtscts;
	status = "okay";


	/*bluetooth {
		compatible = "mrvl,88w8897";
		clocks = <&bt_clk 0>;
		clock-names = "lpo";
		max-speed = <921600>;
		device-wakeup-gpios = <&gpio5 3 GPIO_ACTIVE_HIGH>;
		host-wakeup-gpios = <&gpio5 4 GPIO_ACTIVE_HIGH>;
		pinctrl-names = "default";
		pinctrl-0 = <&pinctrl_bt1>;
		vbat-supply = <&reg_wifi>;
	};*/
};

&uart4 {
	pinctrl-names = "default";
	pinctrl-0 = <&pinctrl_uart4>;
	status = "okay";
};

/* USB-OTG */
&usb3_phy0 {
	status = "okay";

};

&usb3_0 {
	status = "okay";
};

&usb_dwc3_0 {
	dr_mode = "peripheral";
	status = "okay";
};

/* USB-C */
&usb3_phy1 {
	vbus-supply = <&reg_usb_c_vbus>;
	fsl,phy-tx-vref-tune = <0xe>;
	fsl,phy-tx-preemp-amp-tune = <3>;
	fsl,phy-tx-vboost-level = <5>;
	fsl,phy-comp-dis-tune = <7>;
	fsl,pcs-tx-deemph-3p5db = <0x21>;
	fsl,phy-pcs-tx-swing-full = <0x7f>;
	status = "okay";

};

&usb3_1 {
	status = "okay";
};

&usb_dwc3_1 {
	dr_mode = "host";
	hnp-disable;
	srp-disable;
	adp-disable;
	snps,dis-u1-entry-quirk;
	snps,dis-u2-entry-quirk;
	status = "okay";
};

&usdhc3 {
	assigned-clocks = <&clk IMX8MP_CLK_USDHC3>;
	assigned-clock-rates = <400000000>;
	pinctrl-names = "default", "state_100mhz", "state_200mhz";
	pinctrl-0 = <&pinctrl_usdhc3>;
	pinctrl-1 = <&pinctrl_usdhc3_100mhz>;
	pinctrl-2 = <&pinctrl_usdhc3_200mhz>;
	bus-width = <8>;
	non-removable;
	status = "okay";
};

&usdhc3 {
	partitions {
		compatible = "fixed-partitions";
		#size-cells = <1>;
		#address-cells = <1>;

		partition@0 {
			label = "barebox";
			reg = <0x0 0xe0000>;
		};

		partition@e0000 {
			label = "barebox-environment";
			reg = <0xe0000 0x20000>;
		};

		backend_state_usdhc: partition@100000 {
			reg = <0x100000 0x100000>;
			label = "state-emmc";
		};
	};
};

&pwm2 {
	pinctrl-names = "default";
	pinctrl-0 = <&pinctrl_pwm_ecg>;
	status = "okay";
};

&pcie {
	pinctrl-names = "default";
	pinctrl-0 = <&pinctrl_pcie0 &pinctrl_wifi1>;
	disable-gpio = <&gpio2 6 GPIO_ACTIVE_LOW>;
	reset-gpio = <&gpio2 7 GPIO_ACTIVE_LOW>;
	wake-gpio = <&gpio5 21 GPIO_ACTIVE_LOW>;
	ext_osc = <1>;
	/*clkreq-gpio = <&gpio5 20 GPIO_ACTIVE_LOW>; */
	clocks = <&clk IMX8MP_CLK_HSIO_ROOT>,
		 <&clk IMX8MP_CLK_PCIE_AUX>,
		 <&clk IMX8MP_CLK_HSIO_AXI>,
		 <&clk IMX8MP_CLK_PCIE_ROOT>;
	clock-names = "pcie", "pcie_aux", "pcie_phy", "pcie_bus";
	assigned-clocks = <&clk IMX8MP_CLK_HSIO_AXI>,
			  <&clk IMX8MP_CLK_PCIE_AUX>;
	assigned-clock-rates = <500000000>, <10000000>;
	assigned-clock-parents = <&clk IMX8MP_SYS_PLL2_500M>,
				 <&clk IMX8MP_SYS_PLL2_50M>;
	l1ss-disabled;
	status = "disabled";

	wifi_wake_host {
		compatible = "nxp,wifi-wake-host";
		interrupt-parent = <&gpio4>;
		interrupts = <22 IRQ_TYPE_LEVEL_LOW>;
		interrupt-names = "host-wake";
	};
};

&pcie_phy{
	ext_osc = <1>;
	status = "disabled";
};

&easrc {
	fsl,asrc-rate = <48000>;
	status = "okay";
};
